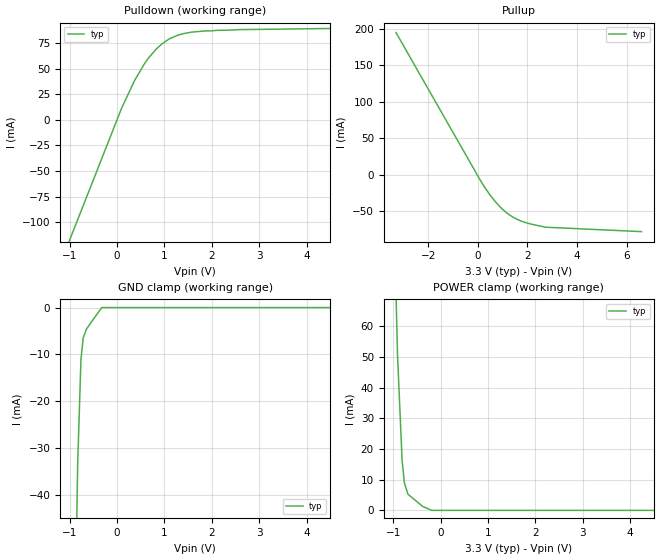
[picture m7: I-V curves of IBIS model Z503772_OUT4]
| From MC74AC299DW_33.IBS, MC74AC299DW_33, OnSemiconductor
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| (C) COPYRIGHT 1993-2000
| MENTOR GRAPHICS CORPORATION
| ICX STANDARD LIBRARY, ICX PROJECT MODELING,
| ICX CUSTOM MODELING, ICX VENDOR MODEL
| ALL RIGHTS RESERVED.
| THE FOLLOWING ARE TRADEMARKS OR SERVICE MARKS OF
| MENTOR GRAPHICS CORPORATION:ICX (R), ICX STANDARD
| LIBRARY(R), ICX PROJECT MODELING(R), ICX CUSTOM
| MODELING(R), qualityIBIS(TM), MODELVIEWER(TM),
| AND MODELEDITOR(TM)
| ALL COPIES OF SOFTWARE, INCLUDING BUT NOT LIMITED TO
| ANY MODIFICATIONS, ENHANCEMENTS OR DERIVATIVE WORKS,
| MUST CONTAIN ALL MENTOR GRAPHICS CORPORATION'S
| NOTICES AND LEGENDS, INCLUDING THOSE EMBEDDED IN
| SOFTWARE AND THOSE AFFIXED TO SOFTWARE MEDIUM
| AND CONTAINER, AS RECEIVED FROM MENTOR GRAPHICS
| CORPORATION.
| Model Application Version 1.89 2/18/99.
[Model] Z503772_OUT4
Model_type Output
Vref=0.000V
Rref=500.0ohms
Cref=50.00pF
Vmeas=1.650V
C_comp 8.000pF NA NA
| variable typ   min   max
[Voltage Range] 3.300V NA NA
[POWER Clamp Reference] 3.300V NA NA
[Pullup Reference] 3.300V NA NA
[Pulldown Reference] 0.000V NA NA
[GND Clamp Reference] 0.000V NA NA
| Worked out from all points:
|   slope of the pulldown table from 0 to 0.495 V, typ, clamps not added: 10.3 ohm
|   slope of the pullup table from 0 to 0.495 V, typ, clamps not added: 18.9 ohm
|   POWER clamp passes 1 mA (typ) near -0.34 V on its own axis
[GND Clamp]
-3.3V     -1.233A    NA         NA
-1.04V    -160.9mA   NA         NA
-829.8mV  -33.36mA   NA         NA
-760.9mV  -11.05mA   NA         NA
-712.7mV  -6.465mA   NA         NA
-644.5mV  -4.582mA   NA         NA
-322.3mV  0A         NA         NA
6.6V      0A         NA         NA
[Pulldown]
-3.3V     -387.5mA   NA         NA
94.15mV   10.93mA    NA         NA
367.4mV   38mA       NA         NA
586.3mV   55.19mA    NA         NA
830.1mV   69.09mA    NA         NA
947.3mV   74.03mA    NA         NA
1.103V    78.93mA    NA         NA
1.414V    84.19mA    NA         NA
1.689V    86.06mA    NA         NA
2.106V    87.28mA    NA         NA
6.6V      90.29mA    NA         NA
[Pullup]
-3.3V     195mA      NA         NA
94mV      -6.946mA   NA         NA
507mV     -28.18mA   NA         NA
737mV     -37.87mA   NA         NA
1.103V    -50.32mA   NA         NA
1.431V    -58.16mA   NA         NA
1.786V    -63.72mA   NA         NA
2.699V    -71.62mA   NA         NA
6.6V      -77.75mA   NA         NA
[POWER Clamp]
-3.3V     1.914A     NA         NA
-1.034V   129.8mA    NA         NA
-909mV    50.85mA    NA         NA
-811mV    16.06mA    NA         NA
-763mV    8.912mA    NA         NA
-689mV    5.276mA    NA         NA
-377mV    1.274mA    NA         NA
-188.5mV  0A         NA         NA
6.6V      0A         NA         NA
[Ramp]
| variable typ min max
dV/dt_r 1.928/611.3p NA NA
dV/dt_f 1.928/419.2p NA NA
R_load = 500.0Ohms
